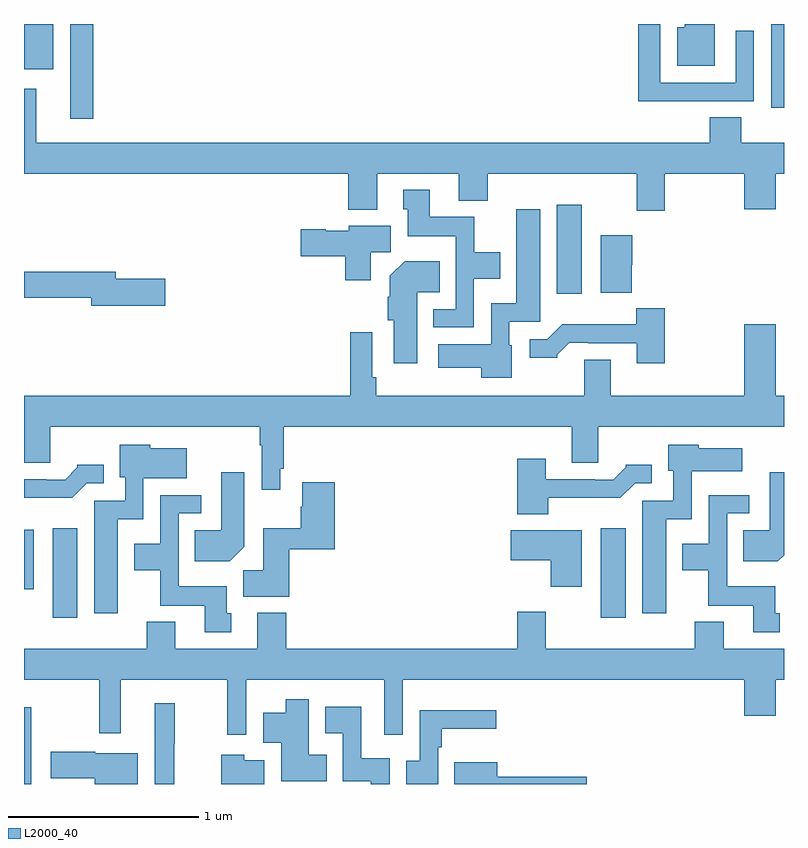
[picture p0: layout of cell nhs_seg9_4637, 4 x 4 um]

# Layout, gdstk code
import gdstk
lib = gdstk.Library(unit=1e-6, precision=1e-09)
def R(c, l, rs):  # rectangles x0, y0, x1, y1
    for r in rs: c.add(gdstk.rectangle(r[:2], r[2:], *l))
def P(c, l, *ps):  # polygons
    for p in ps: c.add(gdstk.Polygon(p, *l))
L2000_40 = (2000, 40)

nhs_seg9_4637 = lib.new_cell('nhs_seg9_4637')
R(nhs_seg9_4637, L2000_40, [(377,1234.5,377.038,1234.903), (377.15,1235.376,377.281,1235.845), (380.036,1235.376,380.167,1235.845), (377,1235.525,377.05,1235.839), (379.805,1237.08,379.936,1237.549), (377.243,1238.001,377.365,1238.5), (380.934,1238.058,381,1238.5), (377,1238.261,377.155,1238.5)])
P(nhs_seg9_4637, L2000_40, [(380.525,1238.094),(380.841,1238.094),(380.841,1238.464),(380.745,1238.464),(380.745,1238.19),(380.349,1238.19),(380.349,1238.5),(380.233,1238.5),(380.233,1238.093),(380.525,1238.093)],
  [(380.635,1238.5),(380.477,1238.5),(380.477,1238.482),(380.438,1238.482),(380.438,1238.279),(380.635,1238.279)],
  [(380.373,1237.712),(380.792,1237.712),(380.792,1237.524),(380.956,1237.524),(380.956,1237.712),(381,1237.712),(381,1237.876),(380.774,1237.876),(380.774,1238.009),(380.609,1238.009),(380.609,1237.876),(377.065,1237.876),(377.065,1238.158),(377,1238.158),(377,1237.712),(378.707,1237.712),(378.707,1237.523),(378.859,1237.523),(378.859,1237.712),(379.289,1237.712),(379.289,1237.571),(379.442,1237.571),(379.442,1237.712),(380.225,1237.712),(380.225,1237.518),(380.373,1237.518)],
  [(379.368,1237.16),(379.507,1237.16),(379.507,1237.3),(379.371,1237.3),(379.371,1237.486),(379.135,1237.486),(379.135,1237.627),(378.995,1237.627),(378.995,1237.524),(379.019,1237.524),(379.019,1237.382),(379.272,1237.382),(379.272,1236.999),(379.155,1236.999),(379.155,1236.903),(379.368,1236.903)],
  [(379.567,1236.81),(379.554,1236.81),(379.554,1236.933),(379.717,1236.933),(379.717,1237.525),(379.592,1237.525),(379.592,1237.03),(379.458,1237.03),(379.458,1236.814),(379.179,1236.814),(379.179,1236.692),(379.406,1236.692),(379.406,1236.638),(379.567,1236.638)],
  [(378.826,1237.3),(378.931,1237.3),(378.931,1237.438),(378.708,1237.438),(378.708,1237.411),(378.588,1237.411),(378.588,1237.419),(378.456,1237.419),(378.456,1237.277),(378.692,1237.277),(378.692,1237.152),(378.826,1237.152)],
  [(380.198,1237.233),(380.2,1237.233),(380.2,1237.387),(380.036,1237.387),(380.036,1237.085),(380.198,1237.085)],
  [(379.069,1237.088),(379.187,1237.088),(379.187,1237.252),(379.004,1237.252),(378.926,1237.174),(378.926,1237.064),(378.914,1237.064),(378.914,1236.942),(378.947,1236.942),(378.947,1236.714),(379.069,1236.714)],
  [(377.743,1237.16),(377.482,1237.16),(377.482,1237.196),(377,1237.196),(377,1237.06),(377.354,1237.06),(377.354,1237.018),(377.743,1237.018)],
  [(380.373,1237.003),(380.223,1237.003),(380.223,1236.919),(379.834,1236.919),(379.755,1236.84),(379.662,1236.84),(379.662,1236.743),(379.806,1236.743),(379.806,1236.758),(379.87,1236.822),(379.969,1236.822),(379.969,1236.819),(380.225,1236.819),(380.225,1236.714),(380.373,1236.714)],
  [(378.348,1236.16),(378.368,1236.16),(378.368,1236.38),(379.883,1236.38),(379.883,1236.19),(380.023,1236.19),(380.023,1236.38),(381,1236.38),(381,1236.544),(380.956,1236.544),(380.956,1236.919),(380.792,1236.919),(380.792,1236.544),(380.089,1236.544),(380.089,1236.734),(379.949,1236.734),(379.949,1236.544),(378.854,1236.544),(378.854,1236.64),(378.834,1236.64),(378.834,1236.877),(378.718,1236.877),(378.718,1236.544),(377,1236.544),(377,1236.19),(377.137,1236.19),(377.137,1236.38),(378.24,1236.38),(378.24,1236.284),(378.252,1236.284),(378.252,1236.048),(378.348,1236.048)],
  [(380.38,1235.894),(380.514,1235.894),(380.514,1236.146),(380.779,1236.146),(380.779,1236.268),(380.55,1236.268),(380.55,1236.286),(380.39,1236.286),(380.39,1236.15),(380.418,1236.15),(380.418,1235.991),(380.255,1235.991),(380.255,1235.4),(380.38,1235.4)],
  [(377.494,1235.894),(377.628,1235.894),(377.628,1236.11),(377.857,1236.11),(377.857,1236.268),(377.664,1236.268),(377.664,1236.286),(377.504,1236.286),(377.504,1236.114),(377.532,1236.114),(377.532,1235.991),(377.369,1235.991),(377.369,1235.4),(377.494,1235.4)],
  [(379.76,1236.006),(380.139,1236.006),(380.217,1236.084),(380.305,1236.084),(380.305,1236.181),(380.166,1236.181),(380.166,1236.166),(380.102,1236.102),(380.003,1236.102),(380.003,1236.105),(379.747,1236.105),(379.747,1236.211),(379.595,1236.211),(379.595,1235.921),(379.76,1235.921)],
  [(377.331,1236.084),(377.419,1236.084),(377.419,1236.181),(377.28,1236.181),(377.28,1236.166),(377.216,1236.102),(377.117,1236.102),(377.117,1236.105),(377,1236.105),(377,1236.006),(377.253,1236.006)],
  [(381,1235.704),(381,1236.142),(380.924,1236.142),(380.924,1235.836),(380.785,1235.836),(380.785,1235.672),(380.968,1235.672)],
  [(378.16,1235.75),(378.16,1236.142),(378.038,1236.142),(378.038,1235.836),(377.899,1235.836),(377.899,1235.672),(378.082,1235.672)],
  [(378.395,1235.735),(378.635,1235.735),(378.635,1236.088),(378.464,1236.088),(378.464,1235.96),(378.457,1235.96),(378.457,1235.845),(378.26,1235.845),(378.26,1235.624),(378.155,1235.624),(378.155,1235.486),(378.395,1235.486)],
  [(378.091,1235.4),(378.067,1235.4),(378.067,1235.542),(377.814,1235.542),(377.814,1235.925),(377.932,1235.925),(377.932,1236.021),(377.718,1236.021),(377.718,1235.764),(377.579,1235.764),(377.579,1235.624),(377.716,1235.624),(377.716,1235.438),(377.951,1235.438),(377.951,1235.298),(378.091,1235.298)],
  [(380.977,1235.4),(380.953,1235.4),(380.953,1235.542),(380.7,1235.542),(380.7,1235.925),(380.818,1235.925),(380.818,1236.021),(380.604,1236.021),(380.604,1235.764),(380.465,1235.764),(380.465,1235.624),(380.602,1235.624),(380.602,1235.438),(380.837,1235.438),(380.837,1235.298),(380.977,1235.298)],
  [(379.936,1235.836),(379.563,1235.836),(379.563,1235.678),(379.772,1235.678),(379.772,1235.538),(379.936,1235.538)],
  [(378.171,1235.048),(378.897,1235.048),(378.897,1234.758),(378.993,1234.758),(378.993,1235.048),(380.792,1235.048),(380.792,1234.86),(380.956,1234.86),(380.956,1235.048),(381,1235.048),(381,1235.212),(380.683,1235.212),(380.683,1235.353),(380.531,1235.353),(380.531,1235.212),(379.747,1235.212),(379.747,1235.407),(379.595,1235.407),(379.595,1235.212),(378.38,1235.212),(378.38,1235.401),(378.227,1235.401),(378.227,1235.212),(377.797,1235.212),(377.797,1235.353),(377.645,1235.353),(377.645,1235.212),(377,1235.212),(377,1235.048),(377.395,1235.048),(377.395,1234.767),(377.509,1234.767),(377.509,1235.048),(378.07,1235.048),(378.07,1234.758),(378.171,1234.758)],
  [(378.593,1234.654),(378.499,1234.654),(378.499,1234.945),(378.377,1234.945),(378.377,1234.876),(378.26,1234.876),(378.26,1234.718),(378.353,1234.718),(378.353,1234.514),(378.593,1234.514)],
  [(377.791,1234.711),(377.794,1234.711),(377.794,1234.924),(377.687,1234.924),(377.687,1234.5),(377.791,1234.5)],
  [(378.924,1234.636),(378.774,1234.636),(378.774,1234.906),(378.585,1234.906),(378.585,1234.766),(378.678,1234.766),(378.678,1234.514),(378.826,1234.514),(378.826,1234.5),(378.924,1234.5)],
  [(379.179,1234.694),(379.199,1234.694),(379.199,1234.79),(379.486,1234.79),(379.486,1234.888),(379.083,1234.888),(379.083,1234.623),(379.013,1234.623),(379.013,1234.5),(379.179,1234.5)],
  [(377.599,1234.663),(377.376,1234.663),(377.376,1234.671),(377.142,1234.671),(377.142,1234.529),(377.372,1234.529),(377.372,1234.5),(377.599,1234.5)],
  [(378.265,1234.624),(378.16,1234.624),(378.16,1234.654),(378.038,1234.654),(378.038,1234.5),(378.265,1234.5)],
  [(379.963,1234.538),(379.492,1234.538),(379.492,1234.615),(379.264,1234.615),(379.264,1234.5),(379.963,1234.5)])

lib.write_gds('nhs_seg9_4637.gds')
